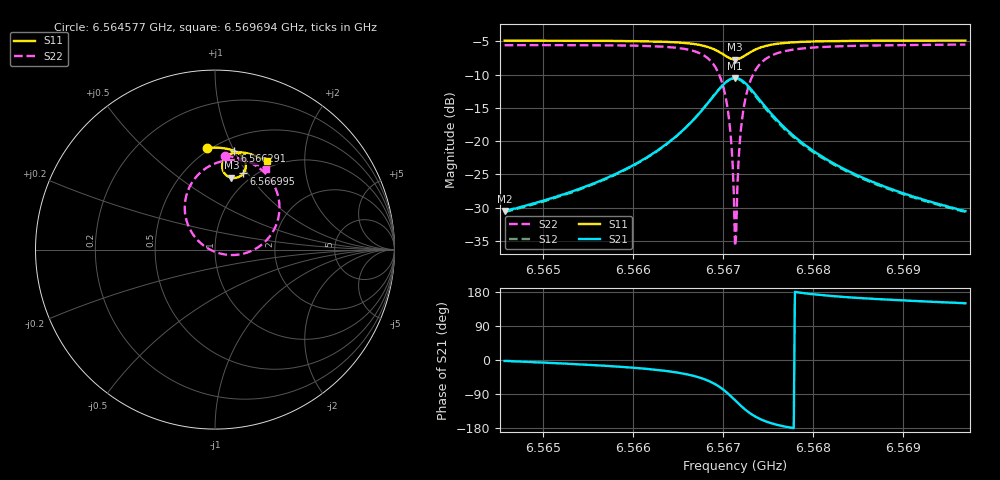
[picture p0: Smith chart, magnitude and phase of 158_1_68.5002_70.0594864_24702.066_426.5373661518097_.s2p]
#  HZ  S  RI  R  50.00
! Rohde & Schwarz Vector Network Analyzer
! Rohde-Schwarz,ZNB20-2Port,1311601062101988,3.16
! Created: UTC 3/20/2024, 5:10:48 PM
! freq[Hz]  re:S11  im:S11  re:S21  im:S21  re:S12  im:S12  re:S22  im:S22
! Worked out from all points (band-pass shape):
!   401 points, 6.564577 GHz to 6.569694 GHz, reference 50 ohm
!   highest |S21| = -10.52 dB at 6.567136 GHz (marker M1); lowest = -30.5 dB at 6.564577 GHz (marker M2)
!   |S21| within 3 dB of the highest: 6.566881 GHz to 6.567393 GHz (511.6 kHz wide, 0.00779 % of centre)
!   lowest |S11| = -7.7 dB at 6.567136 GHz (marker M3), VSWR 2.39, Z = 42.2 + j40.6 ohm
!   |S11| at or under -10 dB: nowhere
!   |S22| runs from -35.8 to -5.5 dB; largest |S21 - S12| = 0.014
!   S11 on the Smith chart (normalised r, x): 6.564577 GHz: 0.48, +0.80; 6.566291 GHz: 0.63, +1.00; 6.566995 GHz: 0.89, +0.95; 6.569694 GHz: 0.90, +1.31
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6.5645774e9  -0.0459 0.5671  0.0297 -0.00132  0.0293 -0.00176  0.0548 0.523
6.5654345e9  0.0252 0.5671  0.0434 -0.00905  0.0427 -0.00961  0.1386 0.5074
6.5662915e9  0.1079 0.5488  0.0773 -0.0388  0.0761 -0.0397  0.2589 0.4447
6.5665729e9  0.1416 0.5284  0.0992 -0.0732  0.0977 -0.0748  0.3183 0.3768
6.5667776e9  0.166 0.4952  0.1135 -0.1308  0.1109 -0.1335  0.3573 0.2658
6.5669055e9  0.1714 0.4581  0.1022 -0.1963  0.0971 -0.2001  0.3424 0.141
6.566995e9  0.1579 0.4245  0.0618 -0.2533  0.053 -0.2566  0.2683 0.0345
6.5670334e9  0.1448 0.4114  0.0308 -0.2748  0.0201 -0.2765  0.2112 -0.00365
6.5670718e9  0.1268 0.402  -0.00798 -0.2887  -0.0205 -0.2882  0.1392 -0.0267
6.5670974e9  0.113 0.399  -0.0372 -0.2923  -0.0502 -0.2895  0.0864 -0.0303
6.5671229e9  0.0986 0.3989  -0.0676 -0.29  -0.0805 -0.2847  0.0324 -0.0229
6.5671357e9  0.0911 0.4001  -0.0824 -0.2863  -0.0952 -0.2801  0.00604 -0.015
6.5671485e9  0.0841 0.4021  -0.097 -0.2813  -0.1092 -0.274  -0.019 -0.00427
6.5671613e9  0.0773 0.4048  -0.1111 -0.2751  -0.1225 -0.2668  -0.0428 0.00856
6.5671869e9  0.0651 0.4124  -0.1363 -0.2587  -0.1462 -0.2487  -0.085 0.0408
6.5672253e9  0.0508 0.4275  -0.1657 -0.228  -0.1729 -0.216  -0.1319 0.0993
6.5672764e9  0.041 0.4507  -0.1883 -0.1819  -0.1913 -0.1698  -0.1637 0.1826
6.5673404e9  0.0408 0.4778  -0.1943 -0.1295  -0.1938 -0.1187  -0.1652 0.275
6.5675706e9  0.0786 0.5291  -0.1488 -0.0287  -0.1455 -0.0242  -0.0634 0.4441
6.5679928e9  0.1419 0.5422  -0.0849 0.00924  -0.0829 0.0105  0.0779 0.4982
6.5688498e9  0.2242 0.523  -0.0412 0.0157  -0.0402 0.016  0.2091 0.4821
6.569694e9  0.2877 0.493  -0.0257 0.015  -0.0252 0.015  0.2861 0.448
